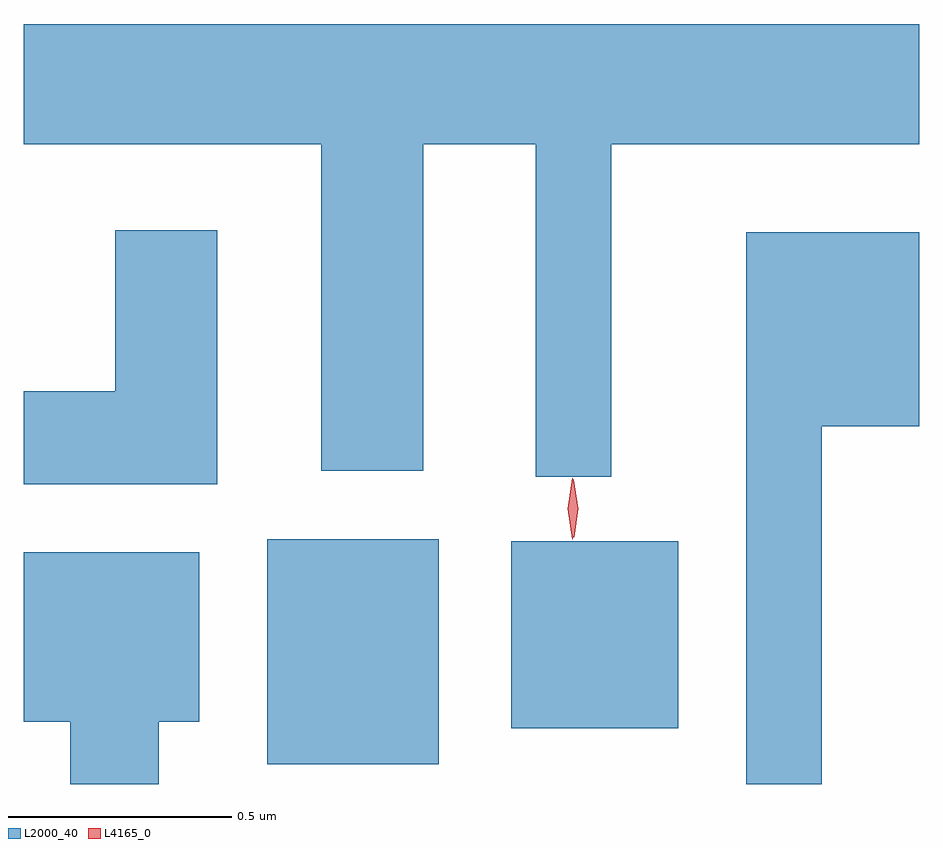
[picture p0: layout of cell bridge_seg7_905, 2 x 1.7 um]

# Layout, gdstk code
import gdstk
lib = gdstk.Library(unit=1e-6, precision=1e-09)
def R(c, l, rs):  # rectangles x0, y0, x1, y1
    for r in rs: c.add(gdstk.rectangle(r[:2], r[2:], *l))
def P(c, l, *ps):  # polygons
    for p in ps: c.add(gdstk.Polygon(p, *l))
L2000_40 = (2000, 40)
L4165_0 = (4165, 0)

bridge_seg7_905 = lib.new_cell('bridge_seg7_905')
R(bridge_seg7_905, L2000_40, [(282.461,1735.131,282.844,1735.634), (283.006,1735.211,283.379,1735.629)])
P(bridge_seg7_905, L2000_40, [(281.917,1736.516),(282.581,1736.516),(282.581,1735.786),(282.809,1735.786),(282.809,1736.516),(283.061,1736.516),(283.061,1735.773),(283.229,1735.773),(283.229,1736.516),(283.917,1736.516),(283.917,1736.784),(281.917,1736.784)],
  [(282.349,1736.324),(282.121,1736.324),(282.121,1735.964),(281.917,1735.964),(281.917,1735.756),(282.349,1735.756)],
  [(283.699,1735.886),(283.917,1735.886),(283.917,1736.319),(283.531,1736.319),(283.531,1735.087),(283.699,1735.087)],
  [(282.219,1735.226),(282.309,1735.226),(282.309,1735.604),(281.917,1735.604),(281.917,1735.226),(282.021,1735.226),(282.021,1735.087),(282.219,1735.087)])
P(bridge_seg7_905, L4165_0, [(283.145,1735.638),(283.145,1735.638),(283.135,1735.702),(283.144,1735.766),(283.144,1735.767),(283.145,1735.766),(283.155,1735.702),(283.146,1735.638)],
  [(283.142,1735.634),(283.142,1735.634),(283.132,1735.702),(283.142,1735.77),(283.142,1735.77),(283.143,1735.77),(283.152,1735.702),(283.143,1735.634)])

lib.write_gds('bridge_seg7_905.gds')
